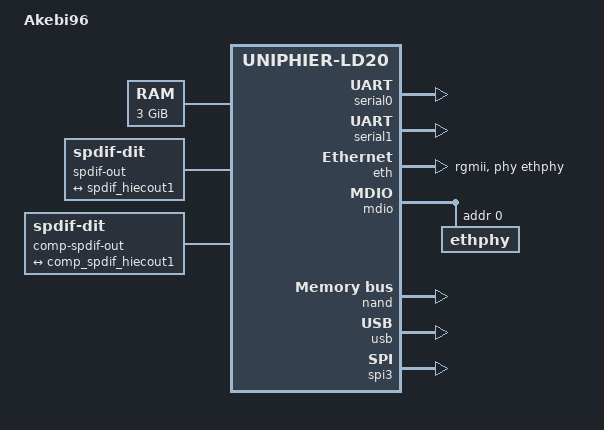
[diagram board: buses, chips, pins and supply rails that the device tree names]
// SPDX-License-Identifier: GPL-2.0+ OR MIT
//
// Device Tree Source for Akebi96 Development Board
//
// Derived from uniphier-ld20-global.dts.
//
// Copyright (C) 2015-2017 Socionext Inc.
//   Author: Masahiro Yamada <yamada.masahiro@socionext.com>
//           Kunihiko Hayashi <hayashi.kunihiko@socionext.com>

/dts-v1/;
#include <dt-bindings/gpio/uniphier-gpio.h>
#include "uniphier-ld20.dtsi"

/ {
	model = "Akebi96";
	compatible = "socionext,uniphier-ld20-akebi96",
		     "socionext,uniphier-ld20";

	chosen {
		stdout-path = "serial0:115200n8";
	};

	aliases {
		serial0 = &serial0;
		serial1 = &serial1;
		serial2 = &serial2;
		serial3 = &serial3;
		i2c0 = &i2c0;
		i2c1 = &i2c1;
		i2c2 = &i2c2;
		i2c3 = &i2c3;
		i2c4 = &i2c4;
		i2c5 = &i2c5;
		spi0 = &spi0;
		spi1 = &spi1;
		spi2 = &spi2;
		spi3 = &spi3;
	};

	memory@80000000 {
		device_type = "memory";
		reg = <0 0x80000000 0 0xc0000000>;
	};

	sound {
		compatible = "audio-graph-card";
		label = "UniPhier LD20";
		widgets = "Headphone", "Headphones";
		dais = <&spdif_port0
			&comp_spdif_port0>;
	};

	spdif-out {
		compatible = "linux,spdif-dit";
		#sound-dai-cells = <0>;

		port@0 {
			spdif_tx: endpoint {
				remote-endpoint = <&spdif_hiecout1>;
			};
		};
	};

	comp-spdif-out {
		compatible = "linux,spdif-dit";
		#sound-dai-cells = <0>;

		port@0 {
			comp_spdif_tx: endpoint {
				remote-endpoint = <&comp_spdif_hiecout1>;
			};
		};
	};

	framebuffer {
		compatible = "simple-framebuffer";
		reg = <0x0 0xc0000000 0x0 0x2000000>;
		width = <0x780>;
		height = <0x438>;
		stride = <0x1e00>;
		format = "a8r8g8b8";
	};

	reserved-memory {
		#address-cells = <0x2>;
		#size-cells = <0x2>;
		ranges;

		memory@c0000000 {
			reg = <0x0 0xc0000000 0x0 0x2000000>;
			no-map;
		};
	};

};

&serial0 {
	status = "okay";
};

&serial1 {
	status = "okay";
};

&spdif_hiecout1 {
	remote-endpoint = <&spdif_tx>;
};

&comp_spdif_hiecout1 {
	remote-endpoint = <&comp_spdif_tx>;
};

&eth {
	status = "okay";
	phy-mode = "rgmii";
	pinctrl-0 = <&pinctrl_ether_rgmii>;
	phy-handle = <&ethphy>;
};

&mdio {
	ethphy: ethphy@0 {
		reg = <0>;
	};
};

&nand {
	status = "okay";
};

&usb {
	status = "okay";
};

&spi3 {
	status = "okay";
};
